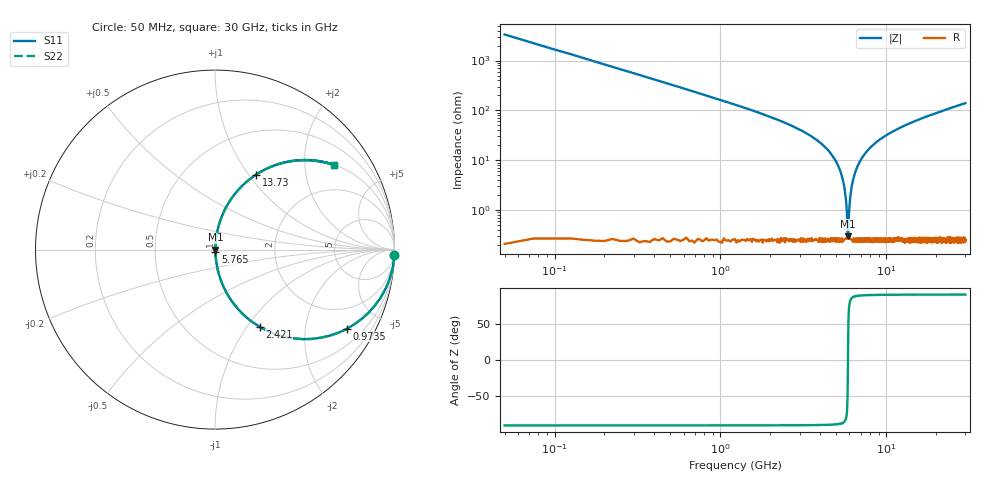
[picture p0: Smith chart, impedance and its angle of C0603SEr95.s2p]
!	AVX Thin Film Operation 	Date: April 2014
!	Description: Accu-P® Series, Thin Film  SMD RF Capacitor
!	Part Number: 06031JR95PBSTR
# MHZ S MA R 50
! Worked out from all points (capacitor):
!   1201 points, 50 MHz to 30 GHz, reference 50 ohm
!   read as one part in series: C = 950 fF near 199.8 MHz
!   lowest |Z| = 299 mohm at 5.865 GHz (marker M1)
!   series resonance near 5.877 GHz, so ESL is about 770 pH
!   S11 on the Smith chart (normalised r, x): 50 MHz: -0, -67; 973.5 MHz: 1.00, -3.35; 2.421 GHz: 1.01, -1.15; 5.765 GHz: 1.00, -0.02; 13.73 GHz: 1.00, +1.09; 30 GHz: 1.00, +2.80
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50  1 -1.7  0.03 88.3  0.03 88.3  1 -1.7
249.667  0.989 -8.5  0.148 81.5  0.148 81.5  0.989 -8.5
399.417  0.972 -13.5  0.233 76.5  0.233 76.5  0.972 -13.5
973.458  0.858 -30.8  0.513 59.1  0.513 59.1  0.858 -30.8
2421.042  0.497 -59.9  0.865 29.8  0.865 29.8  0.497 -59.9
4068.292  0.209 -77.3  0.975 12.1  0.975 12.1  0.209 -77.3
5041.667  0.087 -83.4  0.994 5.0  0.994 5.0  0.087 -83.4
5515.875  0.036 -83.9  0.997 2.1  0.997 2.1  0.036 -83.9
5640.667  0.023 -82.5  0.997 1.3  0.997 1.3  0.023 -82.5
5765.458  0.011 -76.4  0.997 0.6  0.997 0.6  0.011 -76.4
5865.292  0.002755 -24.1  0.997 0.1  0.997 0.1  0.002755 -24.1
5965.125  0.008837 73.0  0.997 -0.5  0.997 -0.5  0.008837 73.0
6114.875  0.023 82.4  0.997 -1.3  0.997 -1.3  0.023 82.4
6289.583  0.039 84.1  0.997 -2.2  0.997 -2.2  0.039 84.1
6938.5  0.094 83.1  0.993 -5.4  0.993 -5.4  0.094 83.1
8111.542  0.183 78.7  0.981 -10.6  0.981 -10.6  0.183 78.7
10058.29  0.305 71.8  0.95 -17.8  0.95 -17.8  0.305 71.8
13727.17  0.477 61.3  0.877 -28.5  0.877 -28.5  0.477 61.3
15025  0.524 58.1  0.849 -31.6  0.849 -31.6  0.524 58.1
20016.67  0.663 48.3  0.747 -41.5  0.747 -41.5  0.663 48.3
25033.29  0.753 41.0  0.656 -48.9  0.656 -48.9  0.753 41.0
30000  0.813 35.5  0.581 -54.4  0.581 -54.4  0.813 35.5
